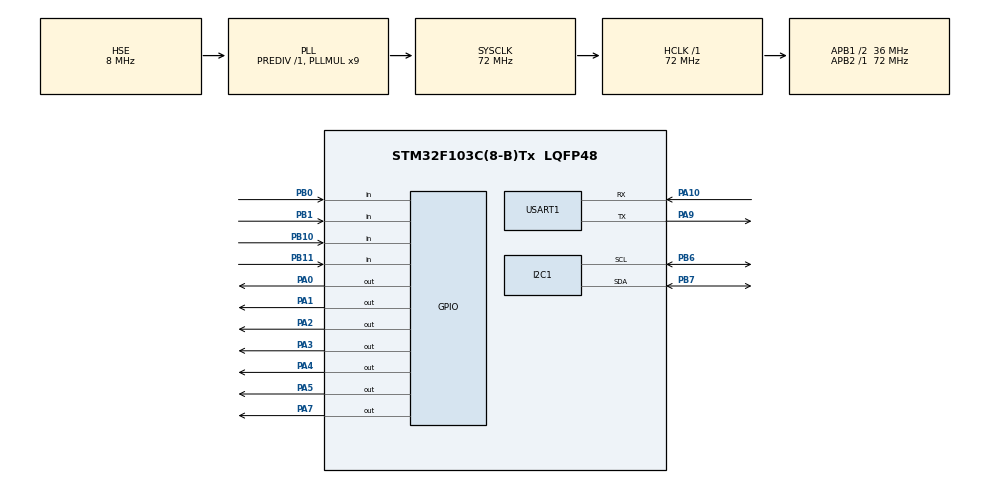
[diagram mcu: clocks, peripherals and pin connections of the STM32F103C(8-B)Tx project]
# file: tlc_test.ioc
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I2C1.I2C_Mode=I2C_Fast
Mcu.Family=STM32F1
Mcu.Name=STM32F103C(8-B)Tx
Mcu.Package=LQFP48
NVIC.PriorityGroup=NVIC_PRIORITYGROUP_4
PA0-WKUP.Signal=GPIO_Output
PA1.Signal=GPIO_Output
PA10.Mode=Asynchronous
PA10.Signal=USART1_RX
PA13.Mode=Serial_Wire
PA13.Signal=SYS_JTMS-SWDIO
PA14.Mode=Serial_Wire
PA14.Signal=SYS_JTCK-SWCLK
PA2.Signal=GPIO_Output
PA3.Signal=GPIO_Output
PA4.PinState=GPIO_PIN_SET
PA4.Signal=GPIO_Output
PA5.Signal=GPIO_Output
PA7.Signal=GPIO_Output
PA9.Mode=Asynchronous
PA9.Signal=USART1_TX
PB0.GPIO_PuPd=GPIO_PULLUP
PB0.Signal=GPIO_Input
PB1.GPIO_PuPd=GPIO_PULLUP
PB1.Signal=GPIO_Input
PB10.GPIO_PuPd=GPIO_PULLUP
PB10.Signal=GPIO_Input
PB11.GPIO_PuPd=GPIO_PULLUP
PB11.Signal=GPIO_Input
PB6.Mode=I2C
PB6.Signal=I2C1_SCL
PB7.Mode=I2C
PB7.Signal=I2C1_SDA
PC14-OSC32_IN.Mode=LSE-External-Oscillator
PC14-OSC32_IN.Signal=RCC_OSC32_IN
PC15-OSC32_OUT.Mode=LSE-External-Oscillator
PC15-OSC32_OUT.Signal=RCC_OSC32_OUT
PD0-OSC_IN.Mode=HSE-External-Oscillator
PD0-OSC_IN.Signal=RCC_OSC_IN
PD1-OSC_OUT.Mode=HSE-External-Oscillator
PD1-OSC_OUT.Signal=RCC_OSC_OUT
ProjectManager.HeapSize=0x200
ProjectManager.StackSize=0x400
ProjectManager.TargetToolchain=CMake
RCC.AHBFreq_Value=72000000
RCC.APB1CLKDivider=RCC_HCLK_DIV2
RCC.APB1Freq_Value=36000000
RCC.APB1TimFreq_Value=72000000
RCC.APB2Freq_Value=72000000
RCC.APB2TimFreq_Value=72000000
RCC.HCLKFreq_Value=72000000
RCC.PLLMUL=RCC_PLL_MUL9
RCC.PLLSourceVirtual=RCC_PLLSOURCE_HSE
RCC.SYSCLKFreq_VALUE=72000000
RCC.SYSCLKSource=RCC_SYSCLKSOURCE_PLLCLK
RCC.USBFreq_Value=72000000
USART1.VirtualMode=VM_ASYNC
board=custom

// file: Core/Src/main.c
/* USER CODE BEGIN Header */
/**
  ******************************************************************************
  * @file           : main.c
  * @brief          : Main program body
  ******************************************************************************
  * @attention
  *
  * Copyright (c) 2025 STMicroelectronics.
  * All rights reserved.
  *
  * This software is licensed under terms that can be found in the LICENSE file
  * in the root directory of this software component.
  * If no LICENSE file comes with this software, it is provided AS-IS.
  *
  ******************************************************************************
  */
/* USER CODE END Header */
#include "main.h"
#include "i2c.h"
#include "usart.h"
#include "gpio.h"

/* USER CODE BEGIN Includes */
#include "tlc5615.h"
#include "key.h"
#include "oled.h"
/* USER CODE END Includes */
//bfgilaehfgiu
/* USER CODE BEGIN PTD */
void Menu_Interface(void);
void Function_Interface1(void);
void Function_Interface2(void);
void Function_Interface3(void);
void Function_Interface4(void);
void Function_Interface5(void);
void Function_Interface6(void);

uint8_t taskIndex = 0;	//任务调度序号

typedef struct
{
  uint8_t CurrentNum;	//当前索引序号:页码
  uint8_t Enter;		//确认键
  uint8_t Next;		//下一个
  uint8_t Return;		//返回键
  void (*Current_Operation)(void);//当前操作(函数指针)
}Menu_table_t;

Menu_table_t taskTable[] =
{
  //菜单界面函数 -- 一级界面
  {0, 1, 0, 0, Menu_Interface},
  //功能界面函数 -- 二级界面
  {1, 4, 2, 0, Function_Interface1},
  {2, 5, 1, 0, Function_Interface2},
  {3, 6, 1, 0, Function_Interface3},
//功能设置界面函数 -- 三级界面
{4, 4, 4, 1, Function_Interface4},
{5, 5, 5, 2, Function_Interface5},
{6, 6, 6, 3, Function_Interface6},

};

/* USER CODE END PTD */

/* USER CODE BEGIN PD */
void Menu_Interface(void)
{
  static uint8_t i=0;
  OLED_NewFrame();
  OLED_DrawCircle(64,32,i,OLED_COLOR_NORMAL);
  OLED_DrawCircle(64,32,2*i,OLED_COLOR_NORMAL);
  OLED_DrawCircle(64,32,3*i,OLED_COLOR_NORMAL);
  OLED_PrintString(27, 20, "信号发生器", &font16x16, OLED_COLOR_NORMAL);
  OLED_ShowFrame();
  i++;
  if (i==64) {
    i=0;
  }
}
void Function_Interface1(void)
{
  OLED_NewFrame();
  OLED_PrintString(0, 0, ">>正弦波", &font16x16, OLED_COLOR_NORMAL);
  OLED_PrintString(0, 20, "方波", &font16x16, OLED_COLOR_NORMAL);
  OLED_PrintString(0, 40, "三角波", &font16x16, OLED_COLOR_NORMAL);
  OLED_ShowFrame();
}
void Function_Interface2(void)
{
  OLED_NewFrame();
  OLED_PrintString(0, 0, "正弦波", &font16x16, OLED_COLOR_NORMAL);
  OLED_PrintString(0, 20, ">>方波", &font16x16, OLED_COLOR_NORMAL);
  OLED_PrintString(0, 40, "三角波", &font16x16, OLED_COLOR_NORMAL);
  OLED_ShowFrame();
}
void Function_Interface3(void)
{
  OLED_NewFrame();
  OLED_PrintString(0, 0, "正弦波", &font16x16, OLED_COLOR_NORMAL);
  OLED_PrintString(0, 20, "方波", &font16x16, OLED_COLOR_NORMAL);
  OLED_PrintString(0, 40, ">>三角波", &font16x16, OLED_COLOR_NORMAL);
  OLED_ShowFrame();
}
void Function_Interface4(void)
{
  OLED_NewFrame();
  OLED_PrintString(0, 0, "111", &font16x16, OLED_COLOR_NORMAL);
  OLED_ShowFrame();
}
void Function_Interface5(void)
{
  OLED_NewFrame();
  OLED_PrintString(0, 0, "222", &font16x16, OLED_COLOR_NORMAL);
  OLED_ShowFrame();
}
void Function_Interface6(void)
{
  OLED_NewFrame();
  OLED_PrintString(0, 0, "333", &font16x16, OLED_COLOR_NORMAL);
  OLED_ShowFrame();
}
/* USER CODE END PD */

void SystemClock_Config(void);

int main(void)
{

  /* MCU Configuration--------------------------------------------------------*/

  /* Reset of all peripherals, Initializes the Flash interface and the Systick. */
  HAL_Init();

  /* Configure the system clock */
  SystemClock_Config();

  /* Initialize all configured peripherals */
  MX_GPIO_Init();
  MX_USART1_UART_Init();
  MX_I2C1_Init();
  /* USER CODE BEGIN 2 */
  HAL_Delay(20);
  OLED_Init();
  TLC5615_HandleTypeDef htlc5615;
  uint8_t cnt=0;
  // 初始化TLC5615
  htlc5615.cs_port = GPIOA;
  htlc5615.cs_pin = GPIO_PIN_4;
  htlc5615.sclk_port = GPIOA;
  htlc5615.sclk_pin = GPIO_PIN_5;
  htlc5615.din_port = GPIOA;
  htlc5615.din_pin = GPIO_PIN_7;
  htlc5615.ref_voltage = 3.3f;  // 参考电压设置为3.3V
  htlc5615.timeout = 100;

  TLC5615_Init(&htlc5615);
  uint8_t last_key;
  /* USER CODE END 2 */

  /* Infinite loop */
  /* USER CODE BEGIN WHILE */
  while (1)
  {
    uint8_t keyty=key_scan();
    if (keyty!=16) {
      last_key=keyty;
    }
    uint8_t val=Keyval_Scan();
    if (val!=0) {
      switch (last_key) {
        case key_0:
          HAL_UART_Transmit(&huart1, (uint8_t*)"key_0\r\n", sizeof("key_0\r\n"), 100);
        case key_1:
          HAL_UART_Transmit(&huart1, (uint8_t*)"key_1\r\n", sizeof("key_1\r\n"), 100);
          break;
        case key_2:
          HAL_UART_Transmit(&huart1, (uint8_t*)"key_2\r\n", sizeof("key_2\r\n"), 100);
          break;
        case key_3:
          HAL_UART_Transmit(&huart1, (uint8_t*)"key_3\r\n", sizeof("key_3\r\n"), 100);
          break;
        case key_4:
          HAL_UART_Transmit(&huart1, (uint8_t*)"key_4\r\n", sizeof("key_4\r\n"), 100);
          taskIndex = taskTable[taskIndex].Enter;//双击表示确认键
          break;
        case key_5:
          HAL_UART_Transmit(&huart1, (uint8_t*)"key_5\r\n", sizeof("key_5\r\n"), 100);
          taskIndex = taskTable[taskIndex].Return;//长击表示返回键
          break;
        case key_6:
          HAL_UART_Transmit(&huart1, (uint8_t*)"key_6\r\n", sizeof("key_6\r\n"), 100);
          taskIndex = taskTable[taskIndex].Next;//单击表示下一位键
          break;
        case key_7:
          HAL_UART_Transmit(&huart1, (uint8_t*)"key_7\r\n", sizeof("key_7\r\n"), 100);
          break;
        case key_8:
          HAL_UART_Transmit(&huart1, (uint8_t*)"key_8\r\n", sizeof("key_8\r\n"), 100);
          break;
        case key_9:
          HAL_UART_Transmit(&huart1, (uint8_t*)"key_9\r\n", sizeof("key_9\r\n"), 100);
          break;
        case key_10:
          HAL_UART_Transmit(&huart1, (uint8_t*)"key_10\r\n", sizeof("key_10\r\n"), 100);
          break;
        case key_11:
          HAL_UART_Transmit(&huart1, (uint8_t*)"key_11\r\n", sizeof("key_11\r\n"), 100);
          break;
        case key_12:
          HAL_UART_Transmit(&huart1, (uint8_t*)"key_12\r\n", sizeof("key_12\r\n"), 100);
          break;
        case key_13:
          HAL_UART_Transmit(&huart1, (uint8_t*)"key_13\r\n", sizeof("key_13\r\n"), 100);
          break;
        case key_14:
          HAL_UART_Transmit(&huart1, (uint8_t*)"key_14\r\n", sizeof("key_14\r\n"), 100);
          break;
        case key_15:
          HAL_UART_Transmit(&huart1, (uint8_t*)"key_15\r\n", sizeof("key_15\r\n"), 100);
          break;
        default:
          break;
      }
    }
    if(cnt++ >= 200) {
      cnt = 0;
      taskTable[taskIndex].Current_Operation();//执行函数
    }
    /* USER CODE END WHILE */

  }
}

void SystemClock_Config(void)
{
  RCC_OscInitTypeDef RCC_OscInitStruct = {0};
  RCC_ClkInitTypeDef RCC_ClkInitStruct = {0};

  /** Initializes the RCC Oscillators according to the specified parameters
  * in the RCC_OscInitTypeDef structure.
  */
  RCC_OscInitStruct.OscillatorType = RCC_OSCILLATORTYPE_HSE;
  RCC_OscInitStruct.HSEState = RCC_HSE_ON;
  RCC_OscInitStruct.HSEPredivValue = RCC_HSE_PREDIV_DIV1;
  RCC_OscInitStruct.HSIState = RCC_HSI_ON;
  RCC_OscInitStruct.PLL.PLLState = RCC_PLL_ON;
  RCC_OscInitStruct.PLL.PLLSource = RCC_PLLSOURCE_HSE;
  RCC_OscInitStruct.PLL.PLLMUL = RCC_PLL_MUL9;
  if (HAL_RCC_OscConfig(&RCC_OscInitStruct) != HAL_OK)
  {
    Error_Handler();
  }

  /** Initializes the CPU, AHB and APB buses clocks
  */
  RCC_ClkInitStruct.ClockType = RCC_CLOCKTYPE_HCLK|RCC_CLOCKTYPE_SYSCLK
                              |RCC_CLOCKTYPE_PCLK1|RCC_CLOCKTYPE_PCLK2;
  RCC_ClkInitStruct.SYSCLKSource = RCC_SYSCLKSOURCE_PLLCLK;
  RCC_ClkInitStruct.AHBCLKDivider = RCC_SYSCLK_DIV1;
  RCC_ClkInitStruct.APB1CLKDivider = RCC_HCLK_DIV2;
  RCC_ClkInitStruct.APB2CLKDivider = RCC_HCLK_DIV1;

  if (HAL_RCC_ClockConfig(&RCC_ClkInitStruct, FLASH_LATENCY_2) != HAL_OK)
  {
    Error_Handler();
  }
}

void Error_Handler(void)
{
  __disable_irq();
  while (1)
  {
  }
}
